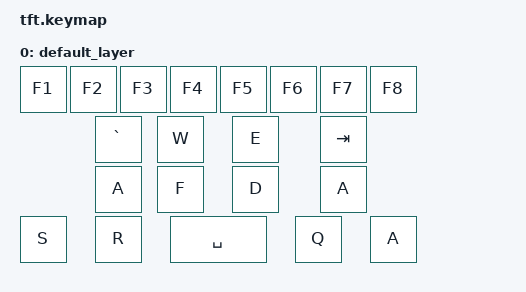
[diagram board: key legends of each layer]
/*
 * Copyright (c) 2020 The ZMK Contributors
 *
 * SPDX-License-Identifier: MIT
 */

#include <behaviors.dtsi>
#include <dt-bindings/zmk/bt.h>
#include <dt-bindings/zmk/keys.h>
#include <dt-bindings/zmk/rgb.h>
#include <dt-bindings/zmk/ext_power.h>
/ {
    behaviors {


        ltq: ltq {
            compatible = "zmk,behavior-hold-tap";
            label = "LTQ";
            bindings = <&mo>, <&kp>;

            #binding-cells = <2>;
            tapping-term-ms = <600>;
            global-quick-tap;
            quick-tap-ms = <400>;
        };
    };



    keymap {
        compatible = "zmk,keymap";

        default_layer {
            bindings = <
&kp F1 &kp F2 &kp F3 &kp F4 &kp F5 &kp F6 &kp F7  &kp F8
&kp GRAVE &kp W &kp E &kp TAB
&kp A &kp F &kp D &kp A
&kp S &kp R &kp SPACE &kp Q &kp A

            >;
        };
    };
};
